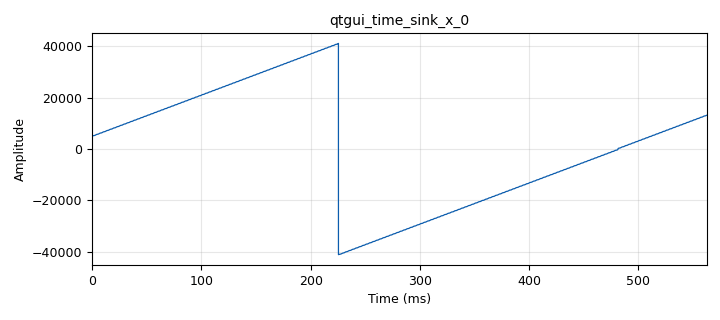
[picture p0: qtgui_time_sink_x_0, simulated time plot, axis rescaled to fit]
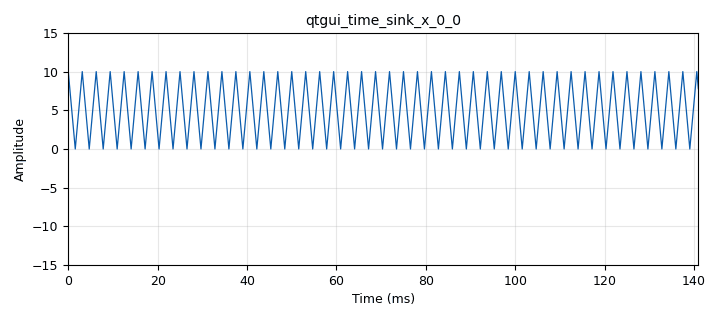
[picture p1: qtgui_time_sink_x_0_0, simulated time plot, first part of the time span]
options:
  parameters:
    author: com2_A1_G1
    generate_options: qt_gui
    id: Diferenciador
    output_language: python
    title: Not titled yet
  states: {}

blocks:
- name: samp_rate
  id: variable
  parameters:
    value: '32000'
  states: {}
- name: analog_sig_source_x_0
  id: analog_sig_source_x
  parameters:
    amp: '10'
    freq: samp_rate/100
    offset: '0'
    phase: '0'
    samp_rate: samp_rate
    type: float
    waveform: analog.GR_TRI_WAVE
  states: {}
- name: epy_block_0
  id: epy_block
  parameters:
    _source_code: |
      """
      Embedded Python Blocks:

      Each time this file is saved, GRC will instantiate the first class it finds
      to get ports and parameters of your block. The arguments to __init__  will
      be the parameters. All of them are required to have default values!
      """

      import numpy as np
      from gnuradio import gr

      class blk(gr.sync_block):
          def __init__(self):  # only default arguments here
              gr.sync_block.__init__(
                  self,
                  name='Diferenciador',  # will show up in GRC
                  in_sig=[np.float32],
                  out_sig=[np.float32]
              )
              self.acum_anterior = 0

          def work(self, input_items, output_items):
              x = input_items[0]  # Señal de entrada.
              y0 = output_items[0]  # Señal acumulada diferencial
              N = len(x)
              diff = np.cumsum(x) - self.acum_anterior
              self.acum_anterior = diff[-1]
              y0[:] = diff
              return len(x)
  states: {}
- name: qtgui_time_sink_x_0
  id: qtgui_time_sink_x
  parameters:
    size: '18000'
    srate: samp_rate
    type: float
    ymax: '100'
    ymin: '-15'
  states: {}
- name: qtgui_time_sink_x_0_0
  id: qtgui_time_sink_x
  parameters:
    size: '18000'
    srate: samp_rate
    type: float
    ymax: '15'
    ymin: '-15'
  states: {}

connections:
- [analog_sig_source_x_0, '0', epy_block_0, '0']
- [analog_sig_source_x_0, '0', qtgui_time_sink_x_0_0, '0']
- [epy_block_0, '0', qtgui_time_sink_x_0, '0']

metadata:
  file_format: 1
  grc_version: v3.10.11.0-89-ga17f69e7
